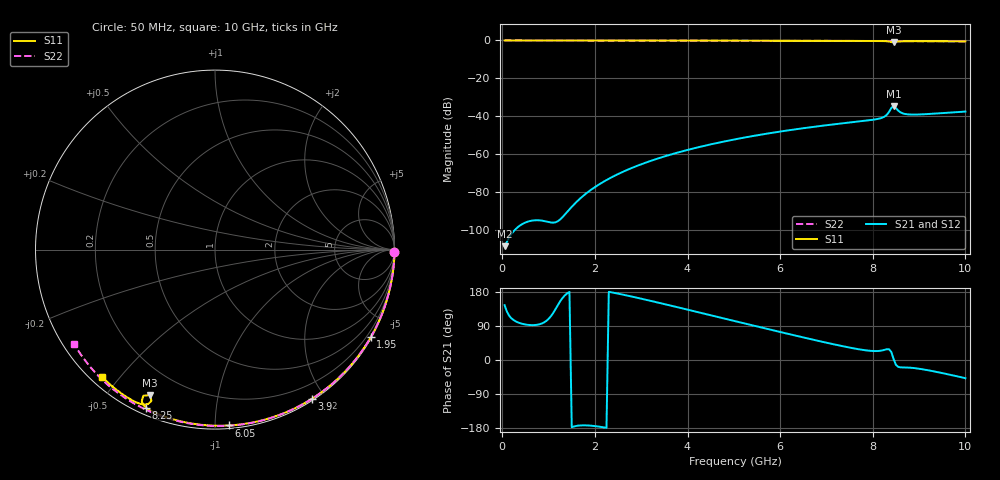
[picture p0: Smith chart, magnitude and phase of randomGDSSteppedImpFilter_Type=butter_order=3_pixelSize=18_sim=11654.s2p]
! freq	dB(S11)	phase(S11)	dB(S12)	phase(S12)
!  dB(S21)	phase(S21)	dB(S22)	phase(S22)
!S-par simulation data
#  GHz  S  DB  R 50
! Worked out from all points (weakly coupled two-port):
!   200 points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, 50 MHz to 10 GHz, reference 50 ohm
!   highest |S21| = -34.60 dB at 8.45 GHz (marker M1); lowest = -108.7 dB at 50 MHz (marker M2)
!   lowest |S11| = -1.0 dB at 8.45 GHz (marker M3), VSWR 16.78, Z = 4.23 - j32.3 ohm
!   |S11| at or under -10 dB: nowhere
!   |S22| runs from -0.5 to 0.0 dB; largest |S21 - S12| = 0
!   S11 on the Smith chart (normalised r, x): 50 MHz: open; 1.95 GHz: 0.03, -3.83; 3.9 GHz: 0.02, -1.84; 6.05 GHz: 0.02, -1.08; 8.25 GHz: 0.03, -0.65; 10 GHz: 0.03, -0.45
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0.05  -0.00 -0.8  -108.67 144.6  -108.67 144.6  -0.00 -0.9
0.9  -0.02 -13.7  -95.37 99.0  -95.37 99.0  -0.02 -15.2
1.75  -0.03 -26.3  -82.03 -172.4  -82.03 -172.4  -0.04 -29.3
1.85  -0.04 -27.8  -80.08 -172.7  -80.08 -172.7  -0.04 -30.9
1.95  -0.04 -29.3  -78.29 -173.7  -78.29 -173.7  -0.04 -32.5
2.25  -0.04 -33.7  -73.74 -179.0  -73.74 -179.0  -0.05 -37.4
2.6  -0.05 -38.7  -69.44 172.6  -69.44 172.6  -0.06 -43.0
3.4  -0.07 -50.1  -62.04 150.5  -62.04 150.5  -0.07 -55.6
3.9  -0.08 -57.1  -58.47 135.9  -58.47 135.9  -0.09 -63.3
5.05  -0.11 -72.6  -52.11 101.8  -52.11 101.8  -0.12 -80.2
6.05  -0.15 -85.5  -47.94 72.5  -47.94 72.5  -0.17 -94.3
6.7  -0.18 -93.6  -45.71 53.9  -45.71 53.9  -0.20 -103.2
8  -0.27 -109.8  -41.91 23.7  -41.91 23.7  -0.29 -120.4
8.25  -0.35 -113.7  -40.27 26.6  -40.27 26.6  -0.31 -123.6
8.35  -0.55 -115.8  -37.79 28.5  -37.79 28.5  -0.33 -124.9
8.4  -0.84 -116.2  -35.66 21.3  -35.66 21.3  -0.33 -125.5
8.45  -1.04 -114.1  -34.60 2.5  -34.60 2.5  -0.33 -126.1
8.5  -0.78 -112.8  -35.72 -12.7  -35.72 -12.7  -0.33 -126.8
8.6  -0.47 -114.3  -38.00 -19.4  -38.00 -19.4  -0.34 -128.1
8.75  -0.39 -116.7  -39.02 -19.8  -39.02 -19.8  -0.35 -130.1
9.05  -0.38 -120.6  -39.05 -24.0  -39.05 -24.0  -0.39 -133.9
10  -0.47 -131.8  -37.56 -48.0  -37.56 -48.0  -0.49 -146.1
